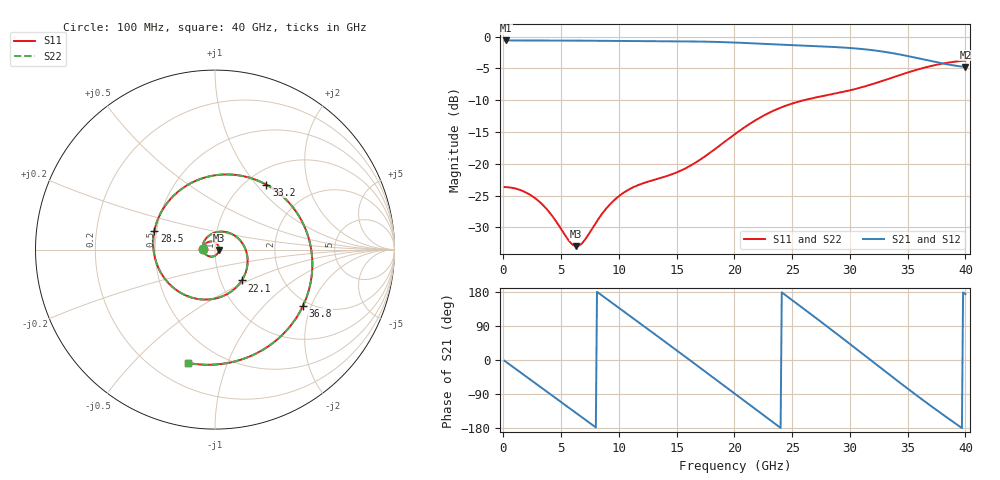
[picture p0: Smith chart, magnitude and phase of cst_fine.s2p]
! A_s4_d200_ap600: L1→L4 through L2/L3, drill Ø0.2, antipad Ø0.6, 4 GND vias at 1 mm
! stackup: 4-layer 1.6 mm FR-4
! ports: 1, 2
! CST Studio Suite 2025.5 Release from 2025-05-30, time domain (FIT, hexahedral, PBA), 339264 mesh cells, 45 s
! mesh: {'lpw': 30.0, 'lpb': 30.0, 'minstep': 0.0, 'ratio': 20}; ports: port 1 (face); port 2 (face)
! interpolated from CST's 1001 samples to the case grid
# Hz S RI R 50
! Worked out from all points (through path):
!   400 points, 100 MHz to 40 GHz, reference 50 ohm
!   highest |S21| = -0.59 dB at 200 MHz (marker M1); lowest = -4.8 dB at 40 GHz (marker M2)
!   group delay of S21, straight-line fit = 63.2 ps
!   lowest |S11| = -33.0 dB at 6.3 GHz (marker M3), VSWR 1.05, Z = 52.3 - j0.275 ohm
!   |S11| at or under -10 dB: start of sweep to 26.01 GHz
!   |S22| runs from -33.0 to -3.8 dB; largest |S21 - S12| = 2.2e-07
!   S11 on the Smith chart (normalised r, x): 100 MHz: 0.88, +0.00; 22.1 GHz: 1.26, -0.46; 28.5 GHz: 0.49, +0.12; 33.2 GHz: 1.23, +1.13; 36.8 GHz: 1.86, -1.75; 40 GHz: 0.33, -0.73
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1e8  -0.0655 0.00224  0.9336 -0.0362  0.9336 -0.0362  -0.0655 0.00224
2e8  -0.0654 0.00448  0.9315 -0.0724  0.9315 -0.0724  -0.0654 0.00448
3.4e9  -0.0148 0.0451  0.2328 -0.9039  0.2328 -0.9039  -0.0148 0.0451
6.3e9  0.0223 -0.00262  -0.7138 -0.5979  -0.7138 -0.5979  0.0223 -0.00263
6.8e9  0.0191 -0.0139  -0.8154 -0.4487  -0.8154 -0.4487  0.0191 -0.0139
9.5e9  -0.0354 -0.0365  -0.7926 0.4823  -0.7926 0.4823  -0.0354 -0.0365
1.15e10  -0.067 -0.000428  -0.2243 0.8982  -0.2243 0.8982  -0.067 -0.000416
1.34e10  -0.0602 0.047  0.4417 0.8114  0.4417 0.8114  -0.0602 0.047
1.51e10  -0.0275 0.0818  0.8471 0.3622  0.8471 0.3622  -0.0275 0.0818
1.66e10  0.0216 0.0993  0.9013 -0.1719  0.9013 -0.1719  0.0216 0.0993
1.85e10  0.1093 0.078  0.5348 -0.7356  0.5348 -0.7356  0.1093 0.078
2.01e10  0.1726 -0.00554  -0.00678 -0.8992  -0.00678 -0.8992  0.1726 -0.00557
2.21e10  0.1494 -0.1716  -0.6349 -0.6135  -0.6349 -0.6135  0.1494 -0.1716
2.43e10  -0.0504 -0.2786  -0.859 0.0909  -0.859 0.0909  -0.0505 -0.2786
2.67e10  -0.298 -0.1352  -0.4112 0.7384  -0.4112 0.7384  -0.298 -0.1351
2.85e10  -0.3378 0.1045  0.1802 0.8111  0.1802 0.8111  -0.3378 0.1045
3.1e10  -0.0972 0.3874  0.7585 0.2568  0.7585 0.2568  -0.0972 0.3874
3.32e10  0.286 0.3617  0.6304 -0.4159  0.6304 -0.4159  0.286 0.3617
3.34e10  0.3194 0.3415  0.59 -0.4632  0.59 -0.4632  0.3195 0.3415
3.51e10  0.5222 0.0624  0.1475 -0.6858  0.1475 -0.6858  0.5222 0.0624
3.68e10  0.4911 -0.3115  -0.2898 -0.5814  -0.2898 -0.5814  0.4911 -0.3115
4e10  -0.1531 -0.6307  -0.574 0.0614  -0.574 0.0614  -0.1532 -0.6307
